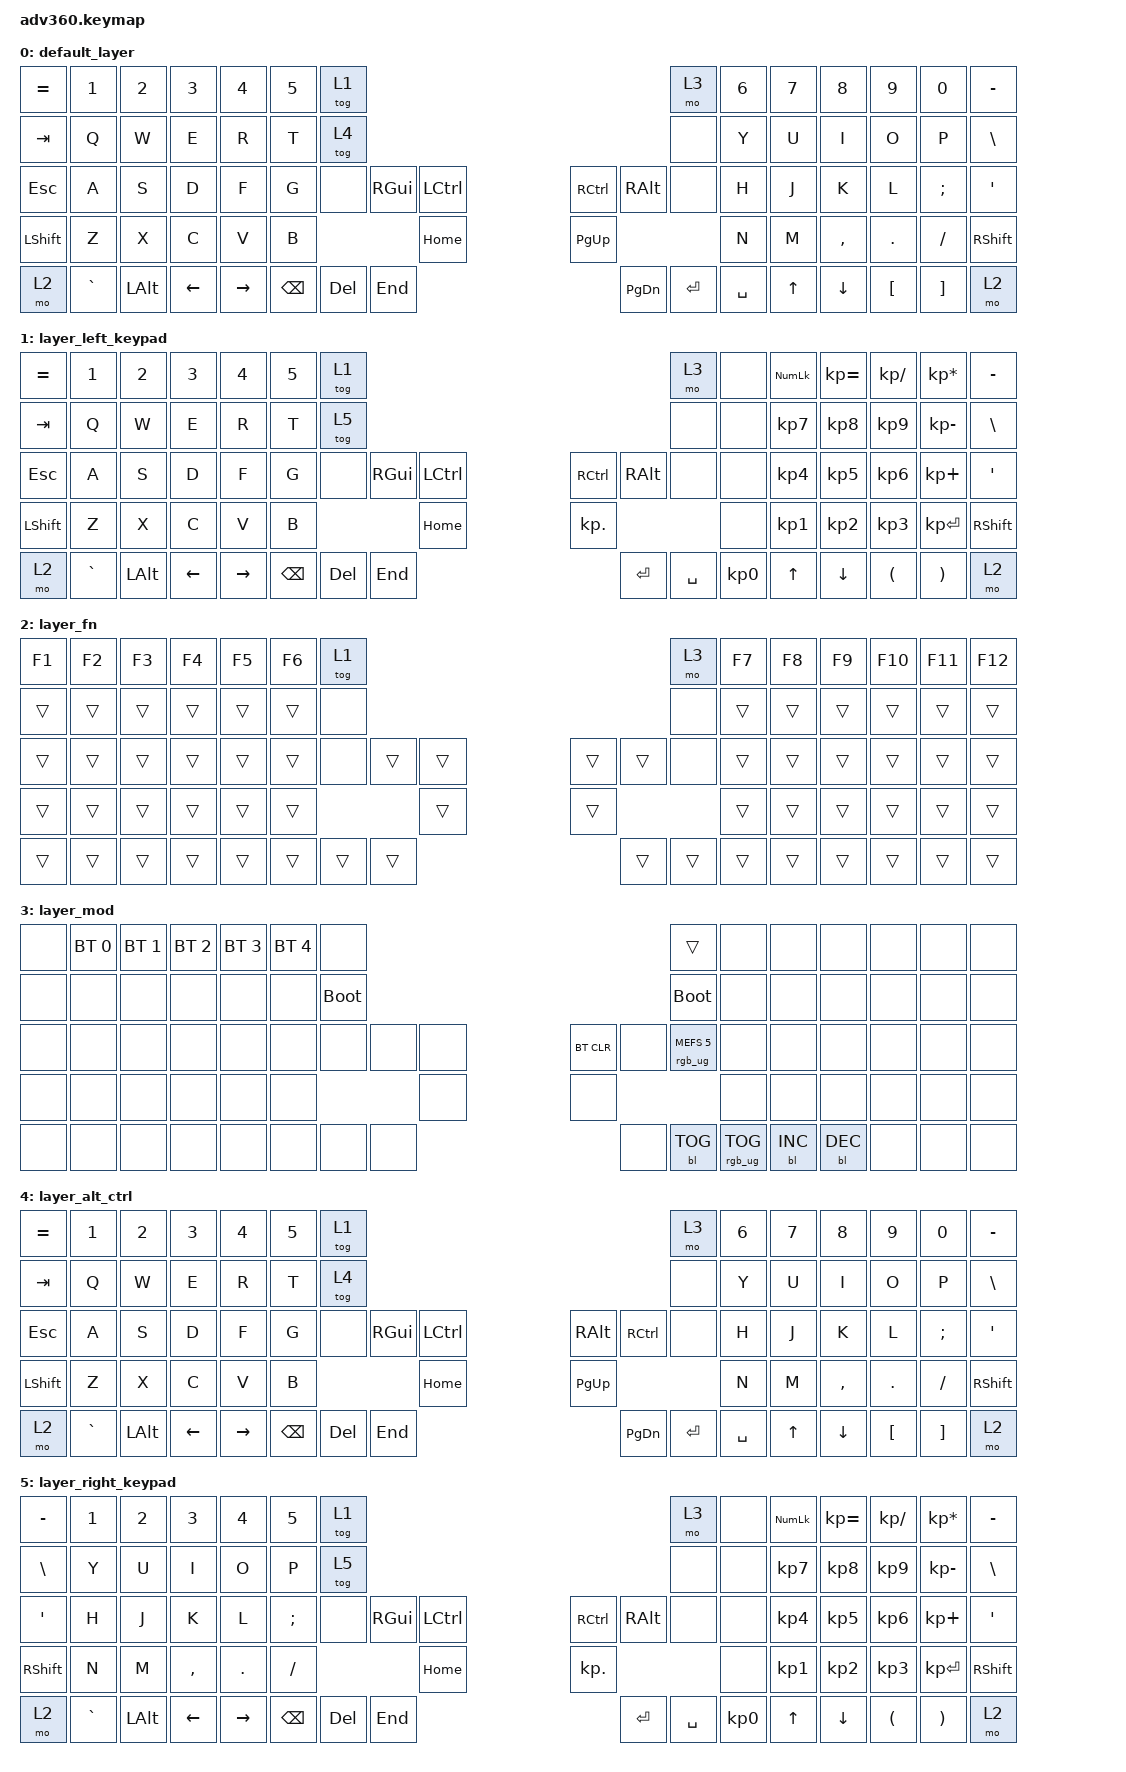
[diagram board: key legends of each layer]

/*
 * Copyright (c) 2020 The ZMK Contributors
 *
 * SPDX-License-Identifier: MIT
 */


/* THIS FILE WAS GENERATED!
 *
 * This file was generated automatically. You may or may not want to
 * edit it directly.
 */

#include <behaviors.dtsi>
#include <dt-bindings/zmk/keys.h>
#include <dt-bindings/zmk/bt.h>
#include <dt-bindings/zmk/rgb.h>
#include <dt-bindings/zmk/backlight.h>

/ {
  behaviors {
    #include "macros.dtsi"
    #include "version.dtsi"

    hm: homerow_mods {
        compatible = "zmk,behavior-hold-tap";
        label = "HOMEROW_MODS";
        #binding-cells = <2>;
        tapping-term-ms = <200>;
        quick_tap_ms = <175>;
        flavor = "tap-preferred";
        bindings = <&kp>, <&kp>;
    };
  };

    keymap {
        compatible = "zmk,keymap";


        default_layer {
            bindings = <
 &kp EQUAL     &kp N1    &kp N2    &kp N3     &kp N4  &kp N5              &tog 1                                                                 &mo 3  &kp N6  &kp N7     &kp N8    &kp N9    &kp N0  &kp MINUS
   &kp TAB      &kp Q     &kp W     &kp E      &kp R   &kp T               &tog 4                                                                 &none   &kp Y   &kp U      &kp I     &kp O     &kp P   &kp BSLH
   &kp ESC      &kp A     &kp S     &kp D      &kp F   &kp G               &none  &kp RGUI  &kp LCTRL                  &kp RCTRL   &kp RALT      &none   &kp H   &kp J      &kp K     &kp L  &kp SEMI    &kp SQT
 &kp LSHFT      &kp Z     &kp X     &kp C      &kp V   &kp B                                 &kp HOME                  &kp PG_UP                         &kp N   &kp M  &kp COMMA   &kp DOT  &kp FSLH  &kp RSHFT
     &mo 2  &kp GRAVE  &kp LALT  &kp LEFT  &kp RIGHT                    &kp BSPC   &kp DEL    &kp END                  &kp PG_DN  &kp ENTER  &kp SPACE          &kp UP   &kp DOWN  &kp LBKT  &kp RBKT      &mo 2
            >;
        };

        layer_left_keypad {
            bindings = <
 &kp EQUAL     &kp N1    &kp N2    &kp N3     &kp N4  &kp N5              &tog 1                                                                &mo 3  &none  &kp KP_NUM  &kp KP_EQUAL  &kp KP_DIVIDE  &kp KP_MULTIPLY  &kp MINUS
   &kp TAB      &kp Q     &kp W     &kp E      &kp R   &kp T               &tog 5                                                                &none   &none   &kp KP_N7     &kp KP_N8      &kp KP_N9     &kp KP_MINUS  &kp BSLH
   &kp ESC      &kp A     &kp S     &kp D      &kp F   &kp G               &none  &kp RGUI  &kp LCTRL                  &kp RCTRL  &kp RALT      &none   &none   &kp KP_N4     &kp KP_N5      &kp KP_N6     &kp KP_PLUS   &kp SQT
 &kp LSHFT      &kp Z     &kp X     &kp C      &kp V   &kp B                                 &kp HOME                  &kp KP_DOT                       &none   &kp KP_N1     &kp KP_N2      &kp KP_N3     &kp KP_ENTER  &kp RSHFT
     &mo 2  &kp GRAVE  &kp LALT  &kp LEFT  &kp RIGHT                    &kp BSPC    &kp DEL   &kp END                  &kp ENTER  &kp SPACE  &kp KP_N0          &kp UP        &kp DOWN       &kp LPAR      &kp RPAR      &mo 2
            >;
        };

        layer_fn {
            bindings = <
 &kp F1  &kp F2  &kp F3  &kp F4  &kp F5  &kp F6            &tog 1                                                   &mo 3  &kp F7  &kp F8  &kp F9  &kp F10  &kp F11  &kp F12
 &trans  &trans  &trans  &trans  &trans  &trans             &none                                                   &none  &trans  &trans  &trans   &trans   &trans   &trans
 &trans  &trans  &trans  &trans  &trans  &trans             &none  &trans  &trans                  &trans  &trans   &none  &trans  &trans  &trans   &trans   &trans   &trans
 &trans  &trans  &trans  &trans  &trans  &trans                            &trans                  &trans                  &trans  &trans  &trans   &trans   &trans   &trans
 &trans  &trans  &trans  &trans  &trans                    &trans  &trans  &trans                  &trans  &trans  &trans          &trans  &trans   &trans   &trans   &trans
            >;
        };

        layer_mod {
            bindings = <
  &none  &bt BT_SEL 0  &bt BT_SEL 1  &bt BT_SEL 2  &bt BT_SEL 3  &bt BT_SEL 4                  &none                                                                          &trans   &none       &none       &none   &none   &none   &none
  &none         &none         &none         &none         &none         &none            &bootloader                                                                     &bootloader   &none       &none       &none   &none   &none   &none
  &none         &none         &none         &none         &none         &none                  &none   &none   &none                  &bt BT_CLR       &none  &rgb_ug RGB_MEFS_CMD 5   &none       &none       &none   &none   &none   &none
  &none         &none         &none         &none         &none         &none                                  &none                       &none                                       &none       &none       &none   &none   &none   &none
  &none         &none         &none         &none         &none                                &none   &none   &none                       &none  &bl BL_TOG         &rgb_ug RGB_TOG          &bl BL_INC  &bl BL_DEC   &none   &none   &none
            >;
        };

    layer_alt_ctrl {
            bindings = <
 &kp EQUAL     &kp N1    &kp N2    &kp N3     &kp N4  &kp N5              &tog 1                                                                 &mo 3  &kp N6  &kp N7     &kp N8    &kp N9    &kp N0  &kp MINUS
   &kp TAB      &kp Q     &kp W     &kp E      &kp R   &kp T               &tog 4                                                                 &none   &kp Y   &kp U      &kp I     &kp O     &kp P   &kp BSLH
   &kp ESC      &kp A     &kp S     &kp D      &kp F   &kp G               &none  &kp RGUI  &kp LCTRL                  &kp RALT   &kp RCTRL      &none   &kp H   &kp J      &kp K     &kp L  &kp SEMI    &kp SQT
 &kp LSHFT      &kp Z     &kp X     &kp C      &kp V   &kp B                                 &kp HOME                  &kp PG_UP                         &kp N   &kp M  &kp COMMA   &kp DOT  &kp FSLH  &kp RSHFT
     &mo 2  &kp GRAVE  &kp LALT  &kp LEFT  &kp RIGHT                    &kp BSPC   &kp DEL    &kp END                  &kp PG_DN  &kp ENTER  &kp SPACE          &kp UP   &kp DOWN  &kp LBKT  &kp RBKT      &mo 2
            >;
        };

        layer_right_keypad {
            bindings = <
 &kp MINUS     &kp N1    &kp N2    &kp N3     &kp N4  &kp N5              &tog 1                                                                &mo 3  &none  &kp KP_NUM  &kp KP_EQUAL  &kp KP_DIVIDE  &kp KP_MULTIPLY  &kp MINUS
   &kp BSLH      &kp Y   &kp U      &kp I     &kp O     &kp P               &tog 5                                                                &none   &none   &kp KP_N7     &kp KP_N8      &kp KP_N9     &kp KP_MINUS  &kp BSLH
   &kp SQT      &kp H   &kp J      &kp K     &kp L  &kp SEMI               &none  &kp RGUI  &kp LCTRL                  &kp RCTRL  &kp RALT      &none   &none   &kp KP_N4     &kp KP_N5      &kp KP_N6     &kp KP_PLUS   &kp SQT
 &kp RSHFT      &kp N   &kp M  &kp COMMA   &kp DOT  &kp FSLH                                 &kp HOME                  &kp KP_DOT                       &none   &kp KP_N1     &kp KP_N2      &kp KP_N3     &kp KP_ENTER  &kp RSHFT
     &mo 2  &kp GRAVE  &kp LALT  &kp LEFT  &kp RIGHT                    &kp BSPC    &kp DEL   &kp END                  &kp ENTER  &kp SPACE  &kp KP_N0          &kp UP        &kp DOWN       &kp LPAR      &kp RPAR      &mo 2
            >;
        };

    };
};
